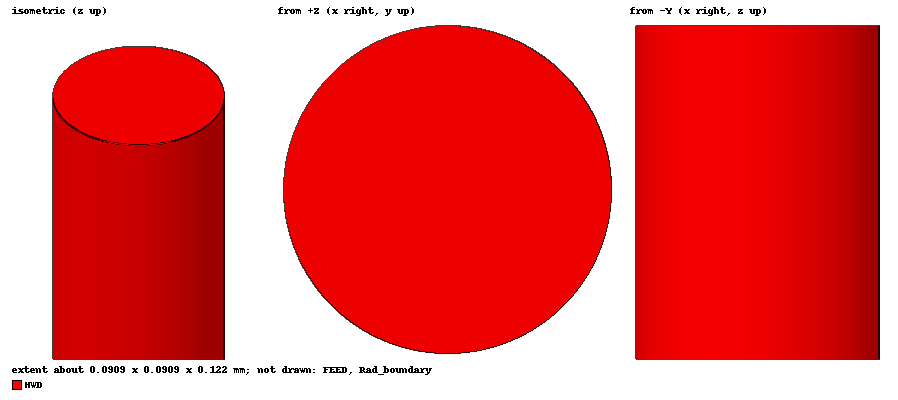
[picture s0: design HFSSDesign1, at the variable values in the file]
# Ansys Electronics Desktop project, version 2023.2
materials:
  vacuum: permittivity=1
  pec: conductivity=1e+30
  air: permittivity=1.0006 permeability=1.0000004

design HFSSDesign1 (HFSS, HFSS Modal Network, model units mm)
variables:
  dl = 21.67
  dr = 0.04545mm
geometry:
  HWD [pec] = cylinder(axis=Z, base_centre=(0mm, 0mm, -10.835mm), radius=0.04545mm, height=21.67mm)
  FEED [vacuum] = cylinder(axis=Z, base_centre=(0mm, 0mm, (-0.1083/2) mm), radius=0.04545mm, height=0.1083mm)
  FEED_1 = FEED.copy()
  HWD.subtract(FEED_1)
  FEED_Section1 = FEED.section(plane=YZ)
  Rad_boundary [air] = box(corner=(-20mm, -20mm, -20mm), size=(40mm, 40mm, 40mm))
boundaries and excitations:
  Rad1: Radiation Objects=Rad_boundary
  1: Lumped Port Objects=FEED_Section1 LumpedPortType=Modal Modes{Mode1{IntLine{(0, 0, -0.05415) -> (0, 0, 0.05415)} CharImp=Zpi RenormImp=75ohm}} Impedance=75ohm
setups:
  Setup1: HfssDriven Frequency=6.6GHz MaxDeltaS=0.02 MaximumPasses=20 MinimumPasses=1 MinimumConvergedPasses=1 PercentRefinement=30 BasisOrder=1 PortAccuracy=2 DrivenSolverType="Direct Solver"
    sweep 500G_750G: 5GHz to 7.5GHz, 101 points; Type=Interpolating SaveFields InterpTolerance=0.5 InterpMaxSolns=250 InterpUsePortImped=false PassivityErrorTolerance=0.0001
  Setup2_FREQ: HfssDriven Frequency=6.6GHz MaxDeltaS=0.02 MaximumPasses=20 MinimumPasses=1 MinimumConvergedPasses=1 PercentRefinement=30 BasisOrder=1 PortAccuracy=2 DrivenSolverType="Direct Solver"
    sweep Sweep_freq: 5GHz to 7.5GHz, 61 points; Type=Discrete SaveFields
  Setup2: HfssDriven Frequency=6.6GHz MaxDeltaS=0.02 MaximumPasses=20 MinimumPasses=1 MinimumConvergedPasses=1 PercentRefinement=30 BasisOrder=1 PortAccuracy=2 DrivenSolverType="Direct Solver"
    sweep Sweep: 6GHz to 7GHz, 201 points; Type=Discrete SaveFields
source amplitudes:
  1:1: 1V 0deg
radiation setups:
  Infinite Sphere1_default: Infinite Sphere Theta=0deg..180deg step 2deg Phi=0deg..360deg step 2deg
  EH_PLANE: Infinite Sphere Theta=0deg..360deg step 2deg Phi=0deg..90deg step 90deg
  hplane: Infinite Sphere Theta=90deg..90deg step 2deg Phi=0deg..360deg step 2deg
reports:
  S Parameter Plot 1: dB(S(1,1)) vs Freq on Setup1 : 500G_750G; markers m1 at 6.55GHz, MY1 at y=-10.0033, MY2 at y=-23.6347
  VSWR Plot 1: VSWR(1) vs Freq on Setup1 : 500G_750G; markers m1 at 6.55GHz
  RAD_PATTERN: rETotal vs Phi, Theta on Setup1 : LastAdaptive, Infinite Sphere1_default [Freq=6.6GHz]
  Gain Plot 1: dB(GainTotal) vs Phi, Theta on Setup1 : LastAdaptive, Infinite Sphere1_default [Freq=6.6GHz]
  E PLANE: dB(rETotal) vs Theta on Setup1 : LastAdaptive, EH_PLANE [Phi=0deg Freq=6.6GHz]
  H PLANE: dB(rETotal) vs Theta on Setup1 : LastAdaptive, EH_PLANE [Phi=90deg Freq=6.6GHz]
  E_H PLANE: dB(rETotal) vs Theta on Setup1 : LastAdaptive, EH_PLANE [Phi=0deg,90deg Freq=6.6GHz]
  GainVs freq: dB(GainTotal) vs Freq on Setup2_FREQ : Sweep_freq, EH_PLANE [Phi=0deg Theta=0deg]; markers m1 at 6.625GHz
  Directivity vs freq: dB(DirTotal) vs Freq on Setup2_FREQ : Sweep_freq, EH_PLANE [Phi=0deg Theta=0deg]; markers m1 at 6.625GHz
